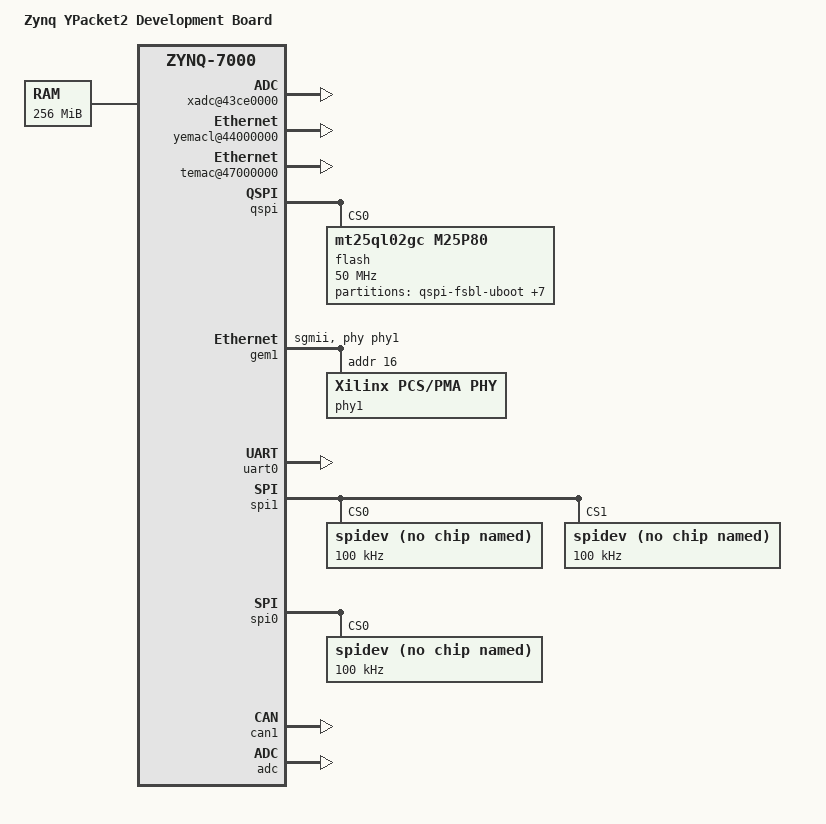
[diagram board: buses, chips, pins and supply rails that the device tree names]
/*
 *  Copyright (C) 2011 - 2014 Xilinx
 *  Copyright (C) 2012 National Instruments Corp.
 *
 * This software is licensed under the terms of the GNU General Public
 * License version 2, as published by the Free Software Foundation, and
 * may be copied, distributed, and modified under those terms.
 *
 * This program is distributed in the hope that it will be useful,
 * but WITHOUT ANY WARRANTY; without even the implied warranty of
 * MERCHANTABILITY or FITNESS FOR A PARTICULAR PURPOSE.  See the
 * GNU General Public License for more details.
 */
/dts-v1/;
/include/ "zynq-7000.dtsi"

/ {
	model = "Zynq YPacket2 Development Board";
	compatible = "xlnx,zynq-ypacket2", "xlnx,zynq-7000";

	aliases {

		i2c0 = &i2c0;
		qspi0 = &qspi;
        spi0 = &spi0;
        spi1 = &spi1;
		serial0 = &uart0;

	};

	memory {
		device_type = "memory";
		reg = <0x0 0x10000000>;
	};



    xadc@43ce0000 {
		    compatible = "xlnx,axi-xadc-1.00.a";
		    reg = <0x43ce0000 0x10000>;
		    interrupts = <0 53 4>;
		    interrupt-parent = <&intc>;
		    clocks = <&clkc 15>;

		    xlnx,channels {
			    #address-cells = <1>;
			    #size-cells = <0>;
			    channel@0 {
				    reg = <0>;
			    };
			    channel@1 {
				    reg = <1>;
			    };
			    channel@2 {
				    reg = <2>;
			    };
			    channel@3 {
				    reg = <3>;
			    };
			    channel@4 {
				    reg = <4>;
			    };
			    channel@5 {
				    reg = <5>;
			    };
			    channel@6 {
				    reg = <6>;
			    };
			    channel@7 {
				    reg = <7>;
			    };
			    channel@8 {
				    reg = <8>;
			    };
			    channel@9 {
				    reg = <9>;
			    };
			    channel@10 {
				    reg = <10>;
			    };
			    channel@11 {
				    reg = <11>;
			    };
			    channel@12 {
				    reg = <12>;
			    };
			    channel@13 {
				    reg = <13>;
			    };
			    channel@14 {
				    reg = <14>;
			    };
			    channel@15 {
				    reg = <15>;
			    };
			    channel@16 {
				    reg = <16>;
			    };
		    };
    };
    yemacl@44000000 {
	    compatible = "yemacl";
	    status = "okay";
	    reg = <0x44000000 0x10000 0x45000000 0x20000>;
        local-mac-address = [88 77 66 55 44 33];
		interrupt-parent = <&intc>;
		interrupts = <0 29 1>; 
    };

    temac@47000000 {
	    compatible = "temac";
	    status = "okay";
	    reg = <0x47000000 0x10000>;
    };


	chosen {
		bootargs = "console=ttyPS0,115200 rootfstype=squashfs root=/dev/mtdblock4 ro earlyprintk";
		stdout-path = &uart0;
	};

};





&qspi {
	status = "okay";
	is-dual = <0>;
	num-cs = <1>;
	flash@0 {
		compatible = "mt25ql02gc,m25p80";
		reg = <0x0>;
		spi-tx-bus-width = <1>;
		spi-rx-bus-width = <4>;
		spi-max-frequency = <50000000>;
		#address-cells = <1>;
		#size-cells = <1>;
		partition@qspi-fsbl-uboot {
			label = "qspi-fsbl-uboot";
			reg = <0x0 0xf00000>;
		};
		partition@qspi-uboot-env0 {
			label = "qspi-uboot-env0";
			reg = <0xf00000 0x40000>;
		};
		partition@qspi-uboot-env1 {
			label = "qspi-uboot-env1";
			reg = <0xf40000 0x40000>;
		};
		partition@qspi-kernel-bank0 {
			label = "qspi-bank0";
			reg = <0x1000000 0x6000000>;
		};
		partition@qspi-rootfs-bank0 {
			label = "qspi-rootfs-bank0";
			reg = <0x1600000 0x5A00000>;
		};
		partition@qspi-kernel-bank1 {
			label = "qspi-bank1";
			reg = <0x7000000 0x6000000>;
		};
		partition@qspi-rootfs-bank1 {
			label = "qspi-rootfs-bank1";
			reg = <0x7600000 0x5A00000>;
		};
		partition@qspi-jffs2 {
			label = "qspi-fs";
			reg = <0xd000000 0x3000000>;
		};
	};
};

&clkc {
	ps-clk-frequency = <50000000>;
};

&gem1 {
	status = "okay";
    phy-mode = "sgmii";

    phy-handle = <&phy1>;

    phy1: phy@16 {
                compatible = "Xilinx PCS/PMA PHY";
                device_type = "ethernet-phy";
                reg = <16>;
    };
};

&gpio0 {
	pinctrl-names = "default";
	pinctrl-0 = <&pinctrl_gpio0_default>;
};

&i2c1 {
    status = "disabled";
	clock-frequency = <400000>;
};

&i2c0 {
	status = "disabled";

};

&pinctrl0 {
	pinctrl_gem0_default: gem0-default {
		mux {
			function = "ethernet0";
			groups = "ethernet0_0_grp";
		};

		conf {
			groups = "ethernet0_0_grp";
			slew-rate = <0>;
			io-standard = <4>;
		};

		conf-rx {
			pins = "MIO22", "MIO23", "MIO24", "MIO25", "MIO26", "MIO27";
			bias-high-impedance;
			low-power-disable;
		};

		conf-tx {
			pins = "MIO16", "MIO17", "MIO18", "MIO19", "MIO20", "MIO21";
			low-power-enable;
			bias-disable;
		};

		mux-mdio {
			function = "mdio0";
			groups = "mdio0_0_grp";
		};

		conf-mdio {
			groups = "mdio0_0_grp";
			slew-rate = <0>;
			io-standard = <1>;
			bias-disable;
		};
	};

	pinctrl_gpio0_default: gpio0-default {
		mux {
			function = "gpio0";
			groups = "gpio0_7_grp", "gpio0_46_grp", "gpio0_47_grp";
		};

		conf {
			groups = "gpio0_7_grp", "gpio0_46_grp", "gpio0_47_grp";
			slew-rate = <0>;
			io-standard = <1>;
		};

		conf-pull-up {
			pins = "MIO46", "MIO47";
			bias-pull-up;
		};

		conf-pull-none {
			pins = "MIO7";
			bias-disable;
		};
	};

	pinctrl_i2c0_default: i2c0-default {
		mux {
			groups = "i2c0_10_grp";
			function = "i2c0";
		};

		conf {
			groups = "i2c0_10_grp";
			bias-pull-up;
			slew-rate = <0>;
			io-standard = <1>;
		};
	};

};


&uart0 {
	status = "okay";
};

&spi1 {

    status = "okay";

	#address-cells = <1>;
	#size-cells = <0>;
	num-cs = <2>;
	is-decoded-cs = <0>;
	spi-max-frequency = <166666700>;

	spidev@0{
		compatible="spidev";
		reg =<0>; //chipselect 0, si5347 (clock)
		spi-max-frequency= <100000>;
	};
	spidev@1{
		compatible="spidev";
		reg =<1>; //chipselect 1, ad9746 (dac)
		spi-max-frequency= <100000>;
	};

};

&spi0 {

    status = "okay";

	#address-cells = <1>;
	#size-cells = <0>;
	num-cs = <1>;
	is-decoded-cs = <0>;
	spidev@0{
		compatible="spidev";
		reg =<0>; //chipselect 0, ad9643 (adc)
		spi-max-frequency= <100000>;
	};
};

&can1 {
       status = "okay";
};



&adc {
       status = "okay";

};



